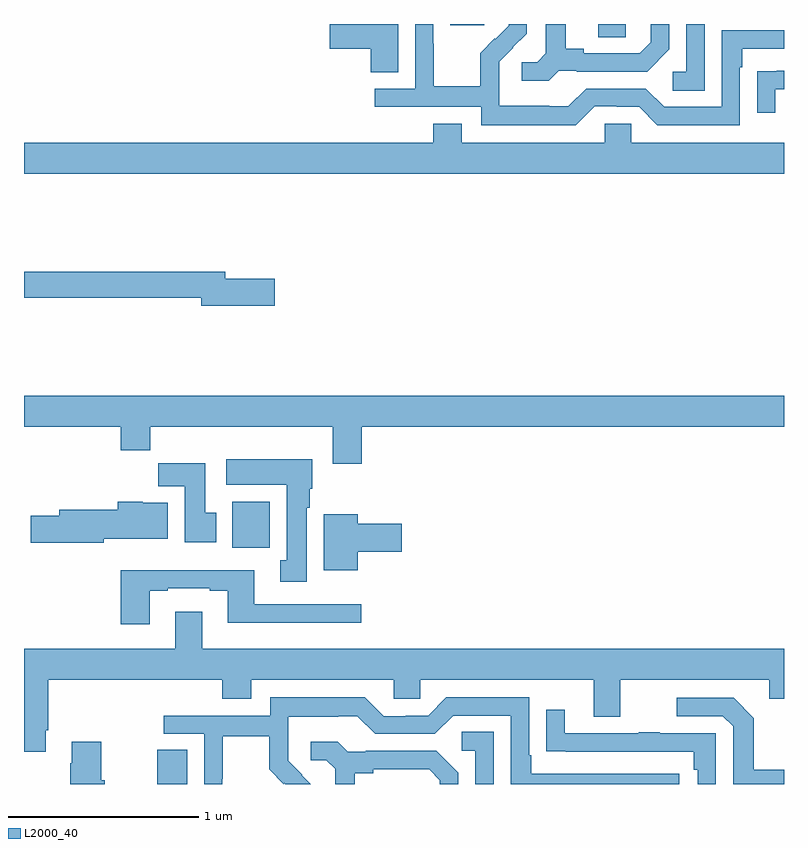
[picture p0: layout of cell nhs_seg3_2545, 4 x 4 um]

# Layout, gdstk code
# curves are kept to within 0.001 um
import gdstk
lib = gdstk.Library(unit=1e-6, precision=1e-09)
def R(c, l, rs):  # rectangles x0, y0, x1, y1
    for r in rs: c.add(gdstk.rectangle(r[:2], r[2:], *l))
def P(c, l, *ps):  # polygons
    for p in ps: c.add(gdstk.Polygon(p, *l))
L2000_40 = (2000, 40)

nhs_seg3_2545 = lib.new_cell('nhs_seg3_2545')
R(nhs_seg3_2545, L2000_40, [(243.701,668.4,243.859,668.579), (244.097,669.644,244.294,669.886), (246.023,672.331,246.168,672.4), (245.243,672.393,245.422,672.4)])
P(nhs_seg3_2545, L2000_40, [(244.969,672.4),(244.608,672.4),(244.608,672.269),(244.826,672.269),(244.826,672.145),(244.969,672.145)],
  [(246.003,671.967),(246.119,671.967),(246.119,671.964),(246.237,671.964),(246.333,671.868),(246.768,671.868),(246.768,672.173),(246.781,672.173),(246.781,672.27),(247,672.27),(247,672.366),(246.672,672.366),(246.672,671.964),(246.369,671.964),(246.273,672.06),(245.958,672.06),(245.865,671.967),(245.765,671.967),(245.765,671.971),(245.502,671.971),(245.502,672.105),(245.5,672.105),(245.5,672.202),(245.646,672.35),(245.646,672.4),(245.552,672.4),(245.552,672.392),(245.481,672.321),(245.478,672.324),(245.401,672.247),(245.401,672.073),(245.157,672.073),(245.157,672.296),(245.154,672.296),(245.154,672.4),(245.058,672.4),(245.058,672.06),(244.845,672.06),(244.845,671.964),(245.406,671.964),(245.406,671.867),(245.903,671.867)],
  [(246.582,672.4),(246.486,672.4),(246.486,672.15),(246.414,672.15),(246.414,672.049),(246.582,672.049)],
  [(245.814,672.153),(245.908,672.153),(245.908,672.15),(246.28,672.15),(246.396,672.266),(246.396,672.4),(246.299,672.4),(246.299,672.303),(246.242,672.246),(245.947,672.246),(245.947,672.269),(245.851,672.269),(245.851,672.4),(245.747,672.4),(245.747,672.245),(245.7,672.198),(245.619,672.198),(245.619,672.101),(245.762,672.101)],
  [(246.955,672.057),(247,672.057),(247,672.153),(246.961,672.153),(246.961,672.152),(246.859,672.152),(246.859,671.934),(246.955,671.934)],
  [(247,671.776),(246.195,671.776),(246.195,671.874),(246.057,671.874),(246.057,671.776),(245.305,671.776),(245.305,671.875),(245.153,671.875),(245.153,671.776),(243,671.776),(243,671.612),(247,671.612)],
  [(244.321,671.06),(244.06,671.06),(244.06,671.096),(243,671.096),(243,670.96),(243.932,670.96),(243.932,670.918),(244.321,670.918)],
  [(244.778,670.28),(247,670.28),(247,670.444),(243,670.444),(243,670.28),(243.509,670.28),(243.509,670.156),(243.665,670.156),(243.665,670.28),(244.625,670.28),(244.625,670.086),(244.778,670.086)],
  [(244.489,669.854),(244.504,669.854),(244.504,669.954),(244.516,669.954),(244.516,670.108),(244.065,670.108),(244.065,669.974),(244.382,669.974),(244.382,669.578),(244.349,669.578),(244.349,669.465),(244.489,669.465)],
  [(244.012,669.828),(243.955,669.828),(243.955,670.087),(243.706,670.087),(243.706,669.968),(243.845,669.968),(243.845,669.672),(244.012,669.672)],
  [(243.42,669.692),(243.757,669.692),(243.757,669.88),(243.624,669.88),(243.624,669.886),(243.494,669.886),(243.494,669.843),(243.185,669.843),(243.185,669.813),(243.036,669.813),(243.036,669.671),(243.42,669.671)],
  [(244.756,669.623),(244.987,669.623),(244.987,669.77),(244.756,669.77),(244.756,669.82),(244.577,669.82),(244.577,669.524),(244.756,669.524)],
  [(243.661,669.417),(243.757,669.417),(243.757,669.429),(243.977,669.429),(243.977,669.417),(244.073,669.417),(244.073,669.248),(244.774,669.248),(244.774,669.345),(244.213,669.345),(244.213,669.526),(243.509,669.526),(243.509,669.24),(243.661,669.24)],
  [(243.115,668.683),(243.128,668.683),(243.128,668.948),(244.043,668.948),(244.043,668.849),(244.195,668.849),(244.195,668.948),(244.947,668.948),(244.947,668.85),(245.085,668.85),(245.085,668.948),(245.999,668.948),(245.999,668.754),(246.139,668.754),(246.139,668.948),(246.923,668.948),(246.923,668.849),(247,668.849),(247,669.112),(243.937,669.112),(243.937,669.307),(243.797,669.307),(243.797,669.112),(243,669.112),(243,668.571),(243.115,668.571)],
  [(244.044,668.428),(244.047,668.428),(244.047,668.652),(244.291,668.652),(244.291,668.477),(244.368,668.4),(244.371,668.403),(244.374,668.4),(244.51,668.4),(244.39,668.522),(244.39,668.619),(244.392,668.619),(244.392,668.753),(244.655,668.753),(244.655,668.757),(244.755,668.757),(244.848,668.664),(245.163,668.664),(245.259,668.76),(245.562,668.76),(245.562,668.4),(246.448,668.4),(246.448,668.454),(245.671,668.454),(245.671,668.551),(245.658,668.551),(245.658,668.856),(245.223,668.856),(245.127,668.76),(245.009,668.76),(245.009,668.757),(244.893,668.757),(244.793,668.857),(244.296,668.857),(244.296,668.76),(243.735,668.76),(243.735,668.664),(243.948,668.664),(243.948,668.4),(244.044,668.4)],
  [(247,668.475),(246.841,668.475),(246.841,668.747),(246.735,668.853),(246.435,668.853),(246.435,668.757),(246.678,668.757),(246.732,668.703),(246.732,668.4),(247,668.4)],
  [(246.642,668.667),(246.347,668.667),(246.347,668.672),(246.235,668.672),(246.235,668.667),(245.845,668.667),(245.845,668.791),(245.749,668.791),(245.749,668.572),(245.851,668.572),(245.851,668.571),(246.526,668.571),(246.526,668.474),(246.546,668.474),(246.546,668.4),(246.642,668.4)],
  [(245.472,668.675),(245.304,668.675),(245.304,668.574),(245.376,668.574),(245.376,668.4),(245.472,668.4)],
  [(244.741,668.456),(244.837,668.456),(244.837,668.478),(245.132,668.478),(245.189,668.421),(245.189,668.4),(245.286,668.4),(245.286,668.458),(245.17,668.574),(244.798,668.574),(244.798,668.571),(244.704,668.571),(244.652,668.623),(244.509,668.623),(244.509,668.526),(244.59,668.526),(244.637,668.479),(244.637,668.4),(244.741,668.4)],
  [(243.424,668.421),(243.406,668.421),(243.406,668.623),(243.251,668.623),(243.251,668.51),(243.244,668.51),(243.244,668.4),(243.424,668.4)])

lib.write_gds('nhs_seg3_2545.gds')
